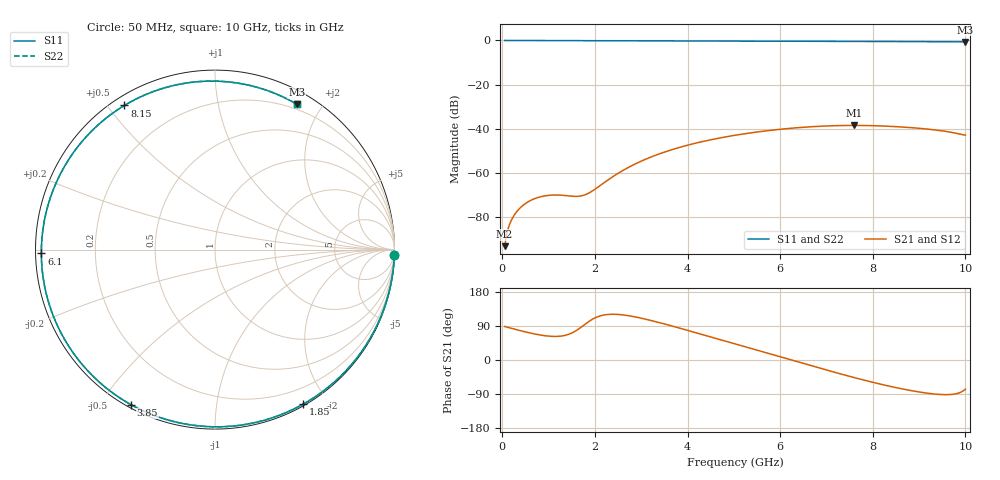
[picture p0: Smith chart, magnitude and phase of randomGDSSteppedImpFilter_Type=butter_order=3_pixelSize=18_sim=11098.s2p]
! freq	dB(S11)	phase(S11)	dB(S12)	phase(S12)
!  dB(S21)	phase(S21)	dB(S22)	phase(S22)
!S-par simulation data
#  GHz  S  DB  R 50
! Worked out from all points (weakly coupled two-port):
!   200 points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, 50 MHz to 10 GHz, reference 50 ohm
!   highest |S21| = -38.47 dB at 7.6 GHz (marker M1); lowest = -93.1 dB at 50 MHz (marker M2)
!   lowest |S11| = -0.6 dB at 10 GHz (marker M3), VSWR 27.33, Z = 7.14 + j85 ohm
!   |S11| at or under -10 dB: nowhere
!   |S22| runs from -0.6 to 0.0 dB; largest |S21 - S12| = 0
!   S11 on the Smith chart (normalised r, x): 50 MHz: 0, -68; 1.85 GHz: 0.02, -1.72; 3.85 GHz: 0.01, -0.60; 6.1 GHz: 0.02, -0.01; 8.15 GHz: 0.03, +0.55; 10 GHz: 0.14, +1.70
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0.05  -0.00 -1.7  -93.14 88.4  -93.14 88.4  -0.00 -1.7
0.2  -0.01 -6.7  -81.20 83.5  -81.20 83.5  -0.01 -6.7
0.5  -0.02 -16.7  -73.83 74.1  -73.83 74.1  -0.02 -16.7
0.8  -0.03 -26.6  -70.91 66.3  -70.91 66.3  -0.03 -26.6
1.1  -0.05 -36.4  -69.98 62.2  -69.98 62.2  -0.05 -36.4
1.75  -0.07 -57.2  -70.13 91.0  -70.13 91.0  -0.07 -57.2
1.85  -0.08 -60.3  -69.29 100.1  -69.29 100.1  -0.08 -60.3
2.65  -0.10 -84.4  -58.31 118.3  -58.31 118.3  -0.10 -84.4
3.4  -0.13 -106.0  -51.29 98.4  -51.29 98.4  -0.13 -106.0
3.85  -0.15 -118.4  -48.29 83.4  -48.29 83.4  -0.15 -118.4
4.45  -0.18 -134.7  -45.19 62.5  -45.19 62.5  -0.18 -134.7
5.05  -0.21 -150.7  -42.84 41.5  -42.84 41.5  -0.21 -150.7
5.6  -0.25 -165.3  -41.18 22.2  -41.18 22.2  -0.25 -165.3
6.1  -0.28 -178.7  -40.01 4.8  -40.01 4.8  -0.28 -178.7
6.7  -0.33 164.8  -39.03 -16.1  -39.03 -16.1  -0.33 164.8
7.6  -0.41 138.9  -38.47 -46.4  -38.47 -46.4  -0.41 138.9
8.15  -0.46 122.1  -38.68 -63.3  -38.68 -63.3  -0.46 122.1
8.35  -0.48 115.9  -38.86 -68.9  -38.86 -68.9  -0.48 115.9
8.8  -0.52 101.3  -39.43 -80.1  -39.43 -80.1  -0.52 101.4
9.2  -0.56 88.1  -40.17 -87.9  -40.17 -87.9  -0.56 88.1
9.6  -0.59 74.5  -41.26 -91.5  -41.26 -91.5  -0.59 74.5
10  -0.64 60.7  -42.87 -77.0  -42.87 -77.0  -0.64 60.7
